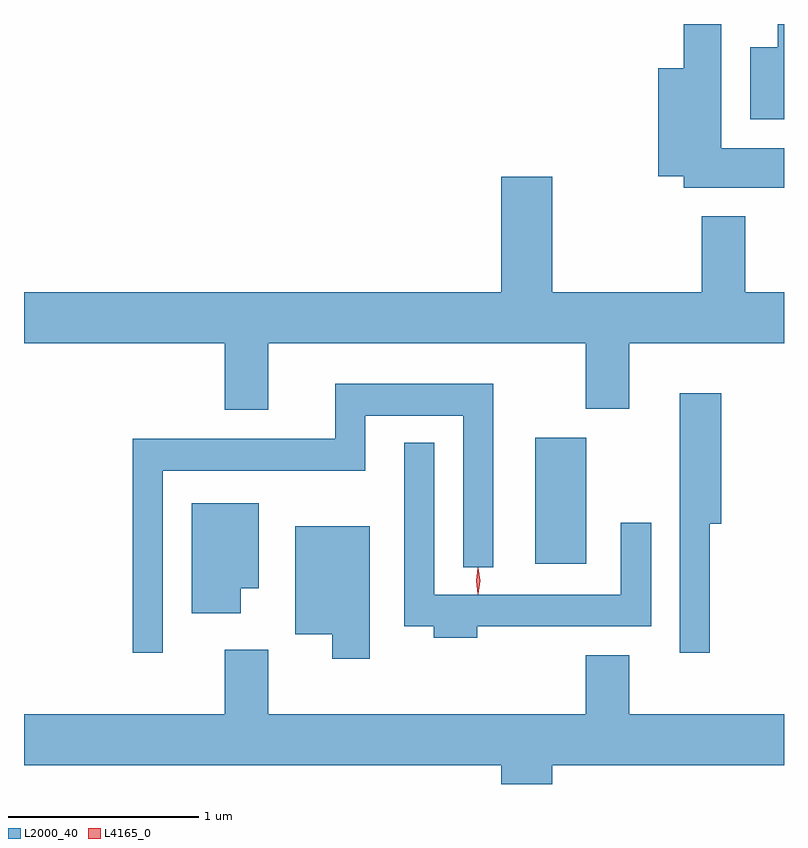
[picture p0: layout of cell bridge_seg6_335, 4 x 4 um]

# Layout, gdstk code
import gdstk
lib = gdstk.Library(unit=1e-6, precision=1e-09)
def R(c, l, rs):  # rectangles x0, y0, x1, y1
    for r in rs: c.add(gdstk.rectangle(r[:2], r[2:], *l))
def P(c, l, *ps):  # polygons
    for p in ps: c.add(gdstk.Polygon(p, *l))
L2000_40 = (2000, 40)
L4165_0 = (4165, 0)

bridge_seg6_335 = lib.new_cell('bridge_seg6_335')
R(bridge_seg6_335, L2000_40, [(1274.196,1553.316,1274.464,1553.979)])
P(bridge_seg6_335, L2000_40, [(1275.504,1556.157),(1275.471,1556.157),(1275.471,1556.034),(1275.326,1556.034),(1275.326,1555.656),(1275.504,1555.656)],
  [(1275.504,1555.504),(1275.174,1555.504),(1275.174,1556.157),(1274.976,1556.157),(1274.976,1555.924),(1274.841,1555.924),(1274.841,1555.356),(1274.976,1555.356),(1274.976,1555.296),(1275.504,1555.296)],
  [(1272.789,1554.476),(1274.461,1554.476),(1274.461,1554.131),(1274.689,1554.131),(1274.689,1554.476),(1275.504,1554.476),(1275.504,1554.744),(1275.299,1554.744),(1275.299,1555.144),(1275.071,1555.144),(1275.071,1554.744),(1274.284,1554.744),(1274.284,1555.354),(1274.016,1555.354),(1274.016,1554.744),(1271.504,1554.744),(1271.504,1554.476),(1272.561,1554.476),(1272.561,1554.126),(1272.789,1554.126)],
  [(1272.234,1553.806),(1273.299,1553.806),(1273.299,1554.096),(1273.816,1554.096),(1273.816,1553.298),(1273.974,1553.298),(1273.974,1554.264),(1273.141,1554.264),(1273.141,1553.974),(1272.076,1553.974),(1272.076,1552.848),(1272.234,1552.848)],
  [(1275.114,1553.526),(1275.174,1553.526),(1275.174,1554.214),(1274.956,1554.214),(1274.956,1552.848),(1275.114,1552.848)],
  [(1273.889,1552.986),(1274.804,1552.986),(1274.804,1553.533),(1274.646,1553.533),(1274.646,1553.154),(1273.664,1553.154),(1273.664,1553.953),(1273.506,1553.953),(1273.506,1552.986),(1273.661,1552.986),(1273.661,1552.926),(1273.889,1552.926)],
  [(1272.644,1553.186),(1272.739,1553.186),(1272.739,1553.634),(1272.386,1553.634),(1272.386,1553.056),(1272.644,1553.056)],
  [(1273.324,1553.514),(1272.931,1553.514),(1272.931,1552.946),(1273.126,1552.946),(1273.126,1552.816),(1273.324,1552.816)],
  [(1274.284,1552.256),(1275.504,1552.256),(1275.504,1552.524),(1274.689,1552.524),(1274.689,1552.834),(1274.461,1552.834),(1274.461,1552.524),(1272.789,1552.524),(1272.789,1552.864),(1272.561,1552.864),(1272.561,1552.524),(1271.504,1552.524),(1271.504,1552.256),(1274.016,1552.256),(1274.016,1552.157),(1274.284,1552.157)])
P(bridge_seg6_335, L4165_0, [(1273.893,1553.157),(1273.884,1553.227),(1273.893,1553.296),(1273.894,1553.296),(1273.894,1553.296),(1273.904,1553.227),(1273.894,1553.157),(1273.894,1553.157)])

lib.write_gds('bridge_seg6_335.gds')
